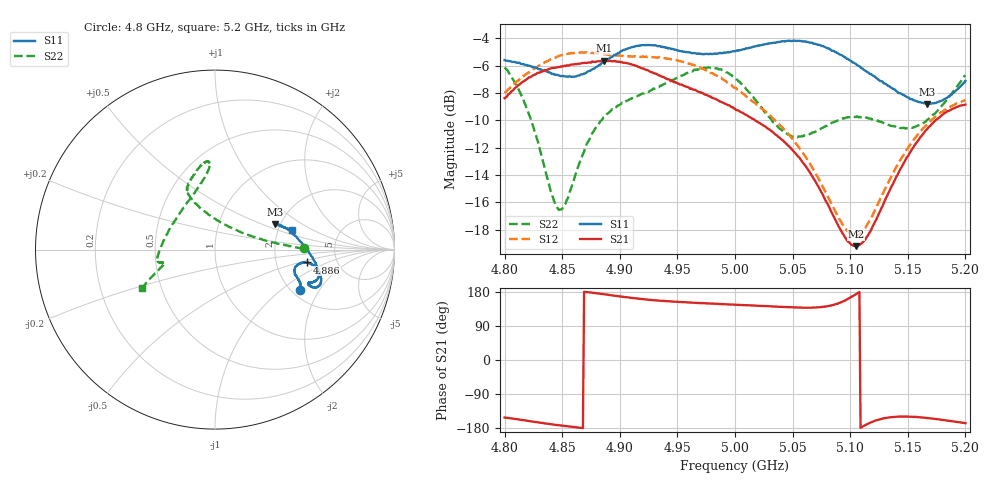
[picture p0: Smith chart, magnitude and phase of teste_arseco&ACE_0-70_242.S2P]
! Network Analyzer HP8722D
! Hewlett-Packard
! Data name: Linha & Wilkinson
! Saver's name: Rodrigo Anjos
! Comments: Teste da utilização de aquisição
! continua pelo VNA HP8722D
! Time and date: 8/5/2025 14:46
!  Frequency  S11  S21  S12  S22
# HZ  S  MA R 50
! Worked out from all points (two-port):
!   401 points, 4.8 GHz to 5.2 GHz, reference 50 ohm
!   highest |S21| = -5.63 dB at 4.886 GHz (marker M1); lowest = -19.2 dB at 5.105 GHz (marker M2)
!   |S21| within 3 dB of the highest: start of sweep to 4.987 GHz
!   lowest |S11| = -8.8 dB at 5.167 GHz (marker M3), VSWR 2.14, Z = 93.6 + j30.8 ohm
!   |S11| at or under -10 dB: nowhere
!   |S22| runs from -16.6 to -6.1 dB; largest |S21 - S12| = 1.1
!   S11 on the Smith chart (normalised r, x): 4.8 GHz: 2.23, -1.37; 4.886 GHz: 3.03, -0.59; 5.2 GHz: 2.36, +0.65
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4.8e9  0.5251 -25.1  0.3813 -152.1  0.3983 7.3  0.4933 0.7
4.82e9  0.5012 -20.5  0.4498 -160.5  0.4717 4.5  0.3432 6.0
4.841e9  0.4672 -17.3  0.4918 -169.9  0.5289 1.1  0.1697 36.5
4.846e9  0.4633 -16.3  0.4955 -171.8  0.5412 0.3  0.1512 54.3
4.853e9  0.4575 -14.8  0.4993 -174.5  0.5525 -0.9  0.1571 80.3
4.867e9  0.4659 -11.0  0.5123 -179.1  0.5598 -2.9  0.2326 107.5
4.886e9  0.5188 -7.9  0.5232 173.9  0.5527 -4.0  0.3245 115.4
4.912e9  0.5879 -11.7  0.5043 163.1  0.5407 -3.2  0.3832 113.6
4.934e9  0.5914 -16.8  0.4621 156.5  0.5385 -3.9  0.4178 108.0
4.975e9  0.553 -19.9  0.392 149.5  0.4823 -7.5  0.4918 95.7
5e9  0.5663 -20.9  0.3483 145.6  0.4166 -7.3  0.4516 94.3
5.019e9  0.5909 -21.0  0.3135 143.1  0.3603 -4.6  0.3694 103.1
5.043e9  0.6141 -18.8  0.2631 139.9  0.2915 0.8  0.2862 130.7
5.067e9  0.608 -14.1  0.1977 138.2  0.2127 8.4  0.2853 165.1
5.093e9  0.5461 -4.6  0.1229 153.7  0.1324 32.8  0.3205 -173.6
5.105e9  0.5081 0.9  0.1096 173.7  0.12 55.9  0.3255 -169.6
5.115e9  0.4751 5.8  0.1193 -168.8  0.1318 74.9  0.3231 -167.8
5.134e9  0.4213 15.5  0.174 -151.4  0.1908 94.2  0.3037 -166.5
5.152e9  0.3783 21.7  0.2417 -149.6  0.2572 99.1  0.2977 -164.6
5.167e9  0.3634 23.1  0.2946 -153.3  0.3072 99.7  0.3181 -161.8
5.182e9  0.3788 20.9  0.3367 -158.8  0.3452 99.5  0.3673 -157.8
5.2e9  0.4406 14.6  0.3609 -166.6  0.3754 100.1  0.4625 -152.1
